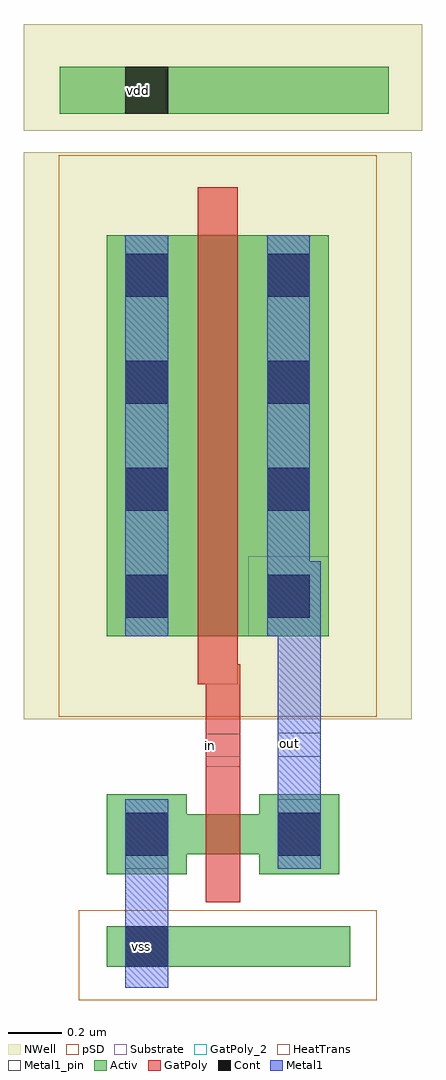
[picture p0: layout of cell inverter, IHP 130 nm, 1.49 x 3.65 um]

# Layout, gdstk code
import gdstk
lib = gdstk.Library(unit=1e-6, precision=5e-09)
def R(c, l, rs):  # rectangles x0, y0, x1, y1
    for r in rs: c.add(gdstk.rectangle(r[:2], r[2:], *l))
def A(c, l, x, y, w, h, nx, ny, dx, dy):  # array of equal rectangles
    R(c, l, [(x+i*dx, y+j*dy, x+i*dx+w, y+j*dy+h) for i in range(nx) for j in range(ny)])
Activ = (1, 0)
GatPoly = (5, 0)
GatPoly_2 = (5, 2)
Cont = (6, 0)
Metal1 = (8, 0)
Metal1_pin = (8, 2)
pSD = (14, 0)
NWell = (31, 0)
Substrate = (40, 0)
HeatTrans = (51, 0)

nmos = lib.new_cell('nmos')
R(nmos, Activ, [(0,0,0.3,0.3), (0.57,0,0.87,0.3), (0,0.075,0.87,0.225)])
R(nmos, GatPoly, [(0.37,-0.105,0.5,0.405)])
R(nmos, GatPoly_2, [(0.37,-0.105,0.5,0.405)])
R(nmos, Cont, [(0.07,0.07,0.23,0.23), (0.64,0.07,0.8,0.23)])
R(nmos, Metal1, [(0.07,0.02,0.23,0.28), (0.64,0.02,0.8,0.28)])
R(nmos, Metal1_pin, [(0.07,0.02,0.23,0.28), (0.64,0.02,0.8,0.28)])
R(nmos, HeatTrans, [(0.37,-0.105,0.5,0.405)])
nmos.add(gdstk.Label('nmos', (0.435,0.15), layer=63, texttype=0))
nmos.add(gdstk.Label('nmos', (0.435,0.15), layer=51, texttype=0))

pmos = lib.new_cell('pmos')
R(pmos, Activ, [(0,0,0.3,0.3), (0,0,0.83,1.5), (0.53,0,0.83,0.3)])
R(pmos, GatPoly, [(0.34,-0.18,0.49,1.68), (0.34,-0.18,0.49,1.68)])
A(pmos, Cont, 0.07, 0.07, 0.16, 0.16, 1, 4, 0, 0.4)
A(pmos, Cont, 0.6, 0.07, 0.16, 0.16, 1, 4, 0, 0.4)
R(pmos, Metal1, [(0.07,0,0.23,1.5), (0.07,0,0.23,1.5), (0.6,0,0.76,1.5), (0.6,0,0.76,1.5)])
R(pmos, pSD, [(-0.18,-0.3,1.01,1.8)])
R(pmos, NWell, [(-0.31,-0.31,1.14,1.81)])
R(pmos, Substrate, [(0.53,0,0.83,0.3)])
R(pmos, HeatTrans, [(0.34,-0.18,0.49,1.68)])
pmos.add(gdstk.Label('pmos', (0.415,0.75), layer=63, texttype=0))
pmos.add(gdstk.Label('pmos', (0.415,0.75), layer=51, texttype=0))

inverter = lib.new_cell('inverter')
R(inverter, Activ, [(-0.225,-1.105,0.685,-0.955), (-0.4,2.085,0.83,2.26)])
R(inverter, GatPoly, [(0.145,-0.355,0.275,0.025)])
R(inverter, GatPoly_2, [(0.145,-0.32,0.275,-0.235)])
R(inverter, Cont, [(-0.155,-1.105,0.005,-0.955), (-0.155,2.085,0.005,2.26)])
R(inverter, Metal1, [(-0.155,-1.185,0.005,-0.53), (0.415,-0.74,0.575,0.41), (-0.155,0.21,0.005,1.135)])
R(inverter, Metal1_pin, [(-0.155,-1.105,0.005,-0.955), (0.415,-0.32,0.575,-0.23), (-0.155,2.085,0,2.26)])
R(inverter, pSD, [(-0.33,-1.23,0.785,-0.895)])
R(inverter, NWell, [(-0.535,2.02,0.955,2.42)])
inverter.add(gdstk.Reference(nmos, (-0.225,-0.76)))
inverter.add(gdstk.Reference(pmos, (-0.225,0.13)))
inverter.add(gdstk.Label('vdd', (-0.105,2.17), layer=8, texttype=2))
inverter.add(gdstk.Label('out', (0.46,-0.27), layer=8, texttype=2))
inverter.add(gdstk.Label('vss', (-0.095,-1.03), layer=8, texttype=2))
inverter.add(gdstk.Label('in', (0.165,-0.28), layer=5, texttype=2))

lib.write_gds('inverter.gds')
